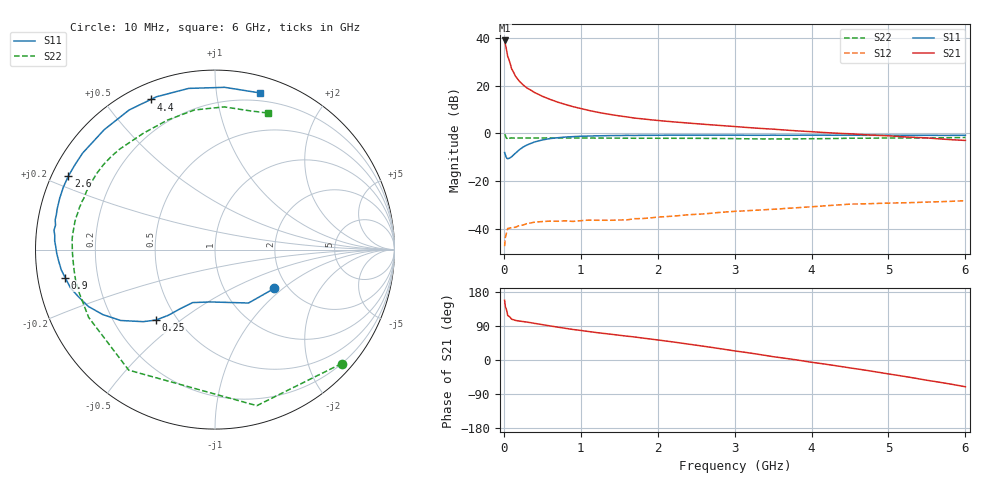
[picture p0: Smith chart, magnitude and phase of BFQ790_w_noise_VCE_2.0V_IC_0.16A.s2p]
! (c) 2015  Infineon Technologies AG, Munich
! Infineon Technologies  Discrete & RF Semiconductors
! BFQ790
! VCE =  2.0 V,  IC = 0.16 A
! Common Emitter S-Parameters:  May 2015
# GHz  S  MA  R  50
!  f  S11  S21  S12  S22
! GHz  MAG  ANG  MAG  ANG  MAG  ANG  MAG  ANG
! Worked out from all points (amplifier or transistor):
!   77 points, 10 MHz to 6 GHz, reference 50 ohm
!   highest |S21| = 38.9 dB at 10 MHz (marker M1)
!   |S21| within 3 dB of that: start of sweep to 29.14 MHz
!   unconditionally stable (mu >= 1): 886.1 MHz to 937.2 MHz; 1.039 GHz to end of sweep
!   at 130 MHz: K = 0.71, MSG = 32.4 dB, |S12| = -39.5 dB
!   at 2.2 GHz: K = 1.25, MAG = 16.8 dB, |S12| = -34.8 dB
!   at 6 GHz: K = 1.14, MAG = 10.4 dB, |S12| = -28.3 dB
!   lowest NFmin = 3.03 dB at 1.5 GHz
!   S11 on the Smith chart (normalised r, x): 10 MHz: 1.71, -0.87; 250 MHz: 0.38, -0.41; 900 MHz: 0.08, -0.09; 2.6 GHz: 0.05, +0.24; 4.4 GHz: 0.07, +0.66; 6 GHz: 0.13, +1.32
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0.01  0.3952 -33.1  87.97 157.6  0.0043 66.8  0.9491 -42.0
0.02  0.3514 -57.9  72.86 140.4  0.0066 50.5  0.9001 -75.0
0.05  0.2926 -94.9  40.9 117.5  0.0101 29.0  0.826 -125.6
0.1  0.3201 -112.8  22.51 107.6  0.0105 19.2  0.7989 -151.8
0.15  0.3803 -120.3  15.78 104.6  0.0107 18.6  0.7939 -162.2
0.2  0.449 -125.4  12.37 102.8  0.0116 19.9  0.7949 -167.8
0.25  0.5125 -130.0  10.33 101.5  0.0119 18.4  0.7935 -171.4
0.3  0.5668 -134.9  8.902 100.0  0.0128 13.2  0.7929 -174.2
0.4  0.6577 -143.1  7.125 96.6  0.0137 15.3  0.7943 -178.4
0.5  0.7223 -149.9  5.955 93.3  0.0141 12.0  0.7956 178.6
0.6  0.7732 -155.8  5.133 90.0  0.0144 12.8  0.798 176.0
0.7  0.8047 -160.9  4.488 86.7  0.0143 12.9  0.7976 173.8
0.9  0.849 -169.3  3.603 80.5  0.0142 9.2  0.7959 170.3
1.1  0.8732 -175.8  3.02 75.2  0.0151 9.5  0.7944 167.0
1.5  0.8961 175.0  2.311 65.3  0.0152 10.4  0.7885 161.3
2.1  0.9091 163.7  1.791 50.3  0.0179 10.7  0.7839 152.4
2.6  0.9139 153.3  1.542 36.2  0.0204 8.5  0.781 142.7
3.1  0.9094 141.7  1.344 21.3  0.0235 1.9  0.7672 131.3
4.1  0.9105 119.5  1.052 -8.7  0.0295 -12.6  0.7695 107.8
4.4  0.9097 113.1  0.989 -17.7  0.0319 -18.0  0.7801 100.7
5.1  0.9057 96.8  0.862 -39.8  0.0346 -32.4  0.7948 84.3
6  0.9085 73.8  0.707 -70.7  0.0385 -52.6  0.8157 68.9
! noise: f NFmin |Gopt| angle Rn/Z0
0.45  4.92  0.45  139  0.47
0.9  3.45  0.58  167  0.16
1.5  3.03  0.69  -173  0.08
1.8  3.11  0.7  -167  0.1
2.6  3.41  0.73  -152  0.23
3.5  3.96  0.84  -136  0.51
